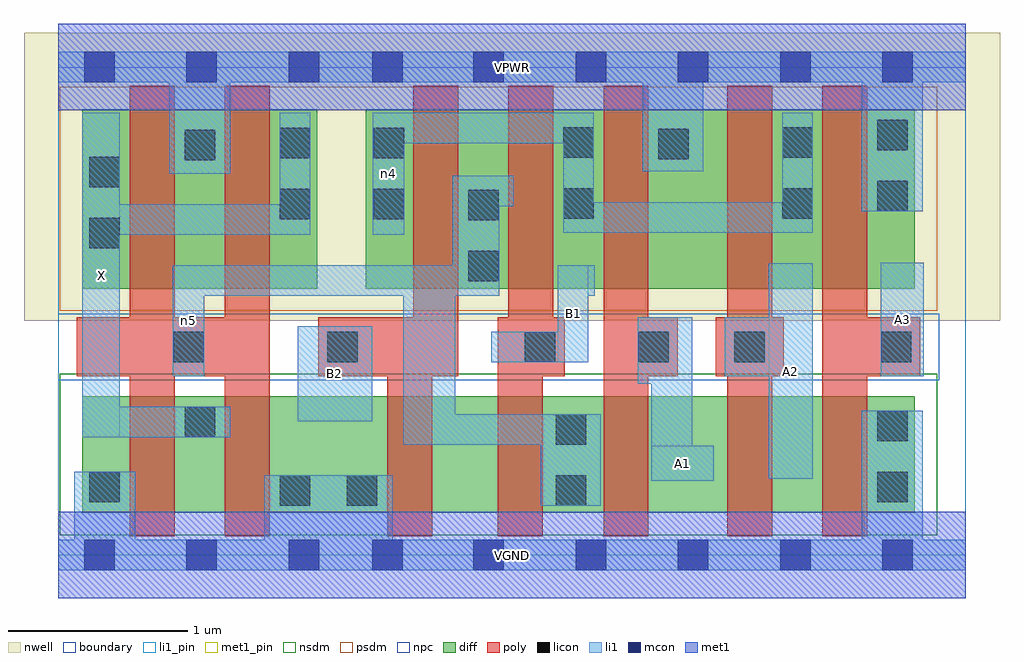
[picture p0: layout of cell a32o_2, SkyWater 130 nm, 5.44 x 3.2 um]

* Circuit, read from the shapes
.subckt a32o_2 A1 A2 A3 B1 B2 VGND VPWR X n4 n5
XM1 X n5 VGND VSUBS sky130_fd_pr__nfet_01v8 w=0.65 l=0.25 m=2
XM2 n1 B2 VGND VSUBS sky130_fd_pr__nfet_01v8 w=0.65 l=0.25
XM3 n5 B1 n1 VSUBS sky130_fd_pr__nfet_01v8 w=0.65 l=0.25
XM4 n2 A1 n5 VSUBS sky130_fd_pr__nfet_01v8 w=0.65 l=0.25
XM5 n3 A2 n2 VSUBS sky130_fd_pr__nfet_01v8 w=0.65 l=0.25
XM6 VGND A3 n3 VSUBS sky130_fd_pr__nfet_01v8 w=0.65 l=0.25
XM7 VPWR n5 X n6 sky130_fd_pr__pfet_01v8 w=1 l=0.25 m=2
XM8 n5 B2 n4 n6 sky130_fd_pr__pfet_01v8 w=1 l=0.25
XM9 n4 B1 n5 n6 sky130_fd_pr__pfet_01v8 w=1 l=0.25
XM10 VPWR A1 n4 n6 sky130_fd_pr__pfet_01v8 w=1 l=0.25
XM11 n4 A2 VPWR n6 sky130_fd_pr__pfet_01v8 w=1 l=0.25
XM12 VPWR A3 n4 n6 sky130_fd_pr__pfet_01v8 w=1 l=0.25
.ends

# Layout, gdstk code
import gdstk
lib = gdstk.Library(unit=1e-6, precision=1e-09)
def R(c, l, rs):  # rectangles x0, y0, x1, y1
    for r in rs: c.add(gdstk.rectangle(r[:2], r[2:], *l))
def A(c, l, x, y, w, h, nx, ny, dx, dy):  # array of equal rectangles
    R(c, l, [(x+i*dx, y+j*dy, x+i*dx+w, y+j*dy+h) for i in range(nx) for j in range(ny)])
nwell = (64, 20)
diff = (65, 20)
poly = (66, 20)
licon = (66, 44)
li1_pin = (67, 16)
li1 = (67, 20)
mcon = (67, 44)
met1_pin = (68, 16)
met1 = (68, 20)
nsdm = (93, 44)
psdm = (94, 20)
npc = (95, 20)
boundary = (235, 4)

a32o_2 = lib.new_cell('a32o_2')
R(a32o_2, nwell, [(-0.19,1.305,5.25,2.91), (0,1.305,5.06,2.91)])
R(a32o_2, diff, [(0.135,0.235,4.775,0.885), (0.135,1.485,1.445,2.485), (1.715,1.485,4.775,2.485)])
R(a32o_2, poly, [(0.4,0.105,0.65,2.615), (0.93,0.105,1.18,2.615), (1.835,0.105,2.085,1.325), (2.45,0.105,2.7,1.325), (3.04,0.105,3.29,2.615), (3.73,0.105,3.98,2.615), (4.26,0.105,4.51,2.615), (0.105,0.995,1.18,1.325), (1.45,0.995,2.23,1.325), (1.98,0.995,2.23,2.615), (2.45,0.995,2.825,1.325), (2.51,0.995,2.76,2.615), (3.04,0.995,3.455,1.325), (3.665,0.995,4.045,1.325), (4.26,0.995,4.805,1.325)])
R(a32o_2, licon, [(1.235,0.275,1.405,0.445), (1.61,0.275,1.78,0.445), (2.775,0.275,2.945,0.445), (0.175,0.295,0.345,0.465), (4.565,0.295,4.735,0.465), (2.775,0.615,2.945,0.785), (4.565,0.635,4.735,0.805), (0.705,0.655,0.875,0.825), (0.645,1.075,0.815,1.245), (1.5,1.075,1.67,1.245), (2.6,1.075,2.77,1.245), (3.235,1.075,3.405,1.245), (3.77,1.075,3.94,1.245), (4.585,1.075,4.755,1.245), (2.285,1.525,2.455,1.695), (0.175,1.71,0.345,1.88), (2.285,1.865,2.455,2.035), (1.235,1.87,1.405,2.04), (1.76,1.87,1.93,2.04), (2.815,1.875,2.985,2.045), (4.035,1.875,4.205,2.045), (4.565,1.915,4.735,2.085), (0.175,2.05,0.345,2.22), (0.705,2.2,0.875,2.37), (3.345,2.205,3.515,2.375), (1.235,2.21,1.405,2.38), (1.76,2.21,1.93,2.38), (2.815,2.215,2.985,2.385), (4.035,2.215,4.205,2.385), (4.565,2.255,4.735,2.425)])
R(a32o_2, li1_pin, [(3.305,0.415,3.655,0.61), (3.96,0.425,4.205,1.625), (0.135,0.655,0.345,2.465), (1.335,0.745,1.75,1.275), (4.585,0.995,4.825,1.63), (2.785,1.075,2.955,1.615)])
R(a32o_2, li1, [(0,-0.085,5.06,0.085), (0.09,-0.085,0.43,0.465), (1.15,-0.085,1.865,0.445), (4.48,-0.085,4.82,0.805), (2.69,0.275,3.025,0.785), (3.305,0.415,3.535,1.325), (3.305,0.415,3.655,0.61), (3.96,0.425,4.205,1.625), (1.925,0.615,2.215,1.615), (1.925,0.615,3.025,0.785), (0.135,0.655,0.345,2.465), (0.135,0.655,0.96,0.825), (1.335,0.745,1.75,1.275), (3.23,0.955,3.535,1.325), (0.64,0.995,0.815,1.615), (3.715,0.995,4.205,1.325), (4.585,0.995,4.825,1.63), (2.415,1.075,2.955,1.245), (2.785,1.075,2.955,1.615), (0.64,1.445,2.46,1.615), (2.2,1.445,2.46,2.115), (2.785,1.445,2.99,1.615), (0.135,1.785,1.405,1.955), (1.235,1.785,1.405,2.465), (1.755,1.785,1.93,2.465), (2.815,1.795,4.205,1.965), (2.815,1.795,2.985,2.465), (4.035,1.795,4.205,2.465), (4.48,1.915,4.82,2.805), (2.2,1.945,2.54,2.115), (0.62,2.125,0.96,2.805), (3.26,2.14,3.595,2.805), (1.755,2.295,2.985,2.465), (0,2.635,5.06,2.805)])
A(a32o_2, mcon, 0.145, -0.085, 0.17, 0.17, 3, 2, 0.57, 2.72)
A(a32o_2, mcon, 2.315, -0.085, 0.17, 0.17, 5, 2, 0.57, 2.72)
R(a32o_2, mcon, [(1.75,-0.085,1.92,0.085), (1.75,2.635,1.92,2.805)])
R(a32o_2, met1_pin, [(0,-0.24,5.06,0.24), (0,2.48,5.06,2.96)])
R(a32o_2, met1, [(0,-0.24,5.06,0.24), (0,2.48,5.06,2.96)])
R(a32o_2, nsdm, [(0.01,0.11,4.9,1.01)])
R(a32o_2, psdm, [(0.01,1.36,4.9,2.61)])
R(a32o_2, npc, [(0,0.975,4.91,1.345)])
R(a32o_2, boundary, [(0,0,5.06,2.72)])
a32o_2.add(gdstk.Label('A1', (3.48,0.512), layer=67, texttype=5))
a32o_2.add(gdstk.Label('A2', (4.082,1.025), layer=67, texttype=5))
a32o_2.add(gdstk.Label('A3', (4.705,1.312), layer=67, texttype=5))
a32o_2.add(gdstk.Label('B1', (2.87,1.345), layer=67, texttype=5))
a32o_2.add(gdstk.Label('B2', (1.542,1.01), layer=67, texttype=5))
a32o_2.add(gdstk.Label('X', (0.24,1.56), layer=67, texttype=5))
a32o_2.add(gdstk.Label('n5', (0.727,1.305), layer=67, texttype=5))
a32o_2.add(gdstk.Label('n4', (1.842,2.125), layer=67, texttype=5))
a32o_2.add(gdstk.Label('VPWR', (2.53,2.72), layer=68, texttype=5))
a32o_2.add(gdstk.Label('VGND', (2.53,0), layer=68, texttype=5))
a32o_2.add(gdstk.Label('A1', (3.48,0.512), layer=67, texttype=16))
a32o_2.add(gdstk.Label('A2', (4.082,1.025), layer=67, texttype=16))
a32o_2.add(gdstk.Label('A3', (4.705,1.312), layer=67, texttype=16))
a32o_2.add(gdstk.Label('B1', (2.87,1.345), layer=67, texttype=16))
a32o_2.add(gdstk.Label('B2', (1.542,1.01), layer=67, texttype=16))
a32o_2.add(gdstk.Label('X', (0.24,1.56), layer=67, texttype=16))
a32o_2.add(gdstk.Label('VPWR', (2.53,2.72), layer=68, texttype=16))
a32o_2.add(gdstk.Label('VGND', (2.53,0), layer=68, texttype=16))

lib.write_gds('a32o_2.gds')
